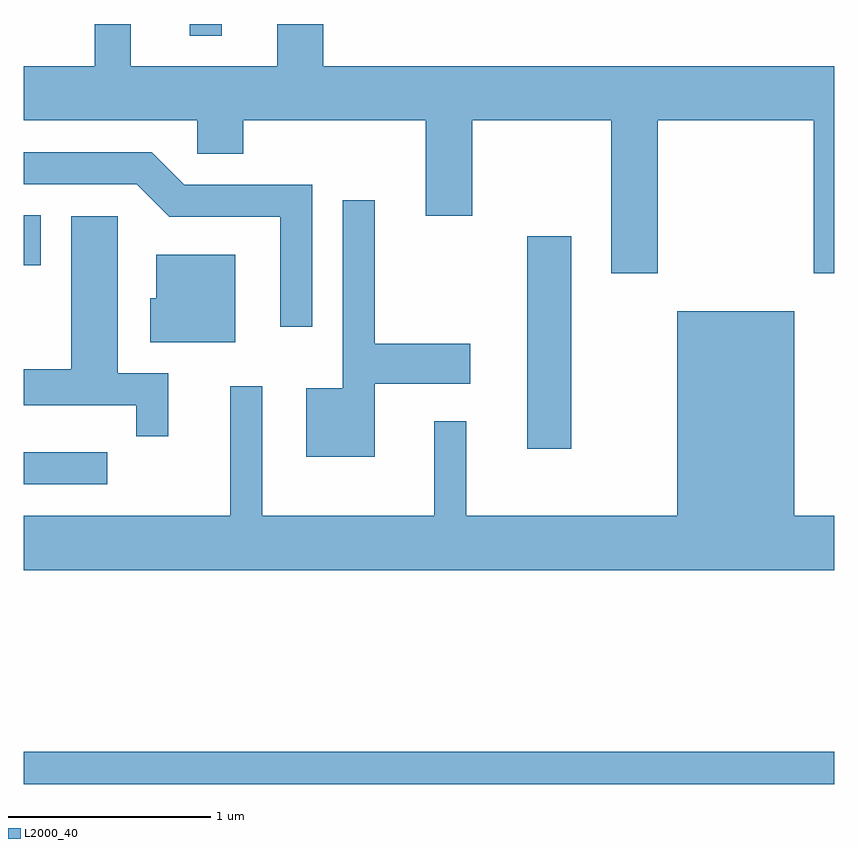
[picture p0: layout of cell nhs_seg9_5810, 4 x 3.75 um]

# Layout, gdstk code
import gdstk
lib = gdstk.Library(unit=1e-6, precision=1e-09)
def R(c, l, rs):  # rectangles x0, y0, x1, y1
    for r in rs: c.add(gdstk.rectangle(r[:2], r[2:], *l))
def P(c, l, *ps):  # polygons
    for p in ps: c.add(gdstk.Polygon(p, *l))
L2000_40 = (2000, 40)

nhs_seg9_5810 = lib.new_cell('nhs_seg9_5810')
R(nhs_seg9_5810, L2000_40, [(355.611,2070.681,359.611,2070.839), (355.611,2072.161,356.023,2072.319), (358.096,2072.336,358.314,2073.384), (355.611,2073.241,355.694,2073.489), (356.431,2074.373,356.589,2074.432)])
P(nhs_seg9_5810, L2000_40, [(358.739,2073.956),(359.511,2073.956),(359.511,2073.201),(359.611,2073.201),(359.611,2074.224),(357.089,2074.224),(357.089,2074.432),(356.861,2074.432),(356.861,2074.224),(356.139,2074.224),(356.139,2074.432),(355.961,2074.432),(355.961,2074.224),(355.611,2074.224),(355.611,2073.956),(356.466,2073.956),(356.466,2073.791),(356.694,2073.791),(356.694,2073.956),(357.596,2073.956),(357.596,2073.486),(357.824,2073.486),(357.824,2073.956),(358.511,2073.956),(358.511,2073.201),(358.739,2073.201)],
  [(357.034,2073.639),(356.402,2073.639),(356.242,2073.799),(355.611,2073.799),(355.611,2073.641),(356.169,2073.641),(356.329,2073.481),(356.876,2073.481),(356.876,2072.938),(357.034,2072.938)],
  [(357.344,2072.656),(357.814,2072.656),(357.814,2072.854),(357.344,2072.854),(357.344,2073.563),(357.186,2073.563),(357.186,2072.634),(357.006,2072.634),(357.006,2072.296),(357.344,2072.296)],
  [(356.324,2072.709),(356.074,2072.709),(356.074,2073.484),(355.846,2073.484),(355.846,2072.729),(355.611,2072.729),(355.611,2072.551),(356.166,2072.551),(356.166,2072.398),(356.324,2072.398)],
  [(356.654,2073.294),(356.266,2073.294),(356.266,2073.079),(356.236,2073.079),(356.236,2072.861),(356.654,2072.861)],
  [(359.611,2072.004),(359.414,2072.004),(359.414,2073.014),(358.836,2073.014),(358.836,2072.004),(357.794,2072.004),(357.794,2072.472),(357.636,2072.472),(357.636,2072.004),(356.789,2072.004),(356.789,2072.643),(356.631,2072.643),(356.631,2072.004),(355.611,2072.004),(355.611,2071.736),(359.611,2071.736)])

lib.write_gds('nhs_seg9_5810.gds')
